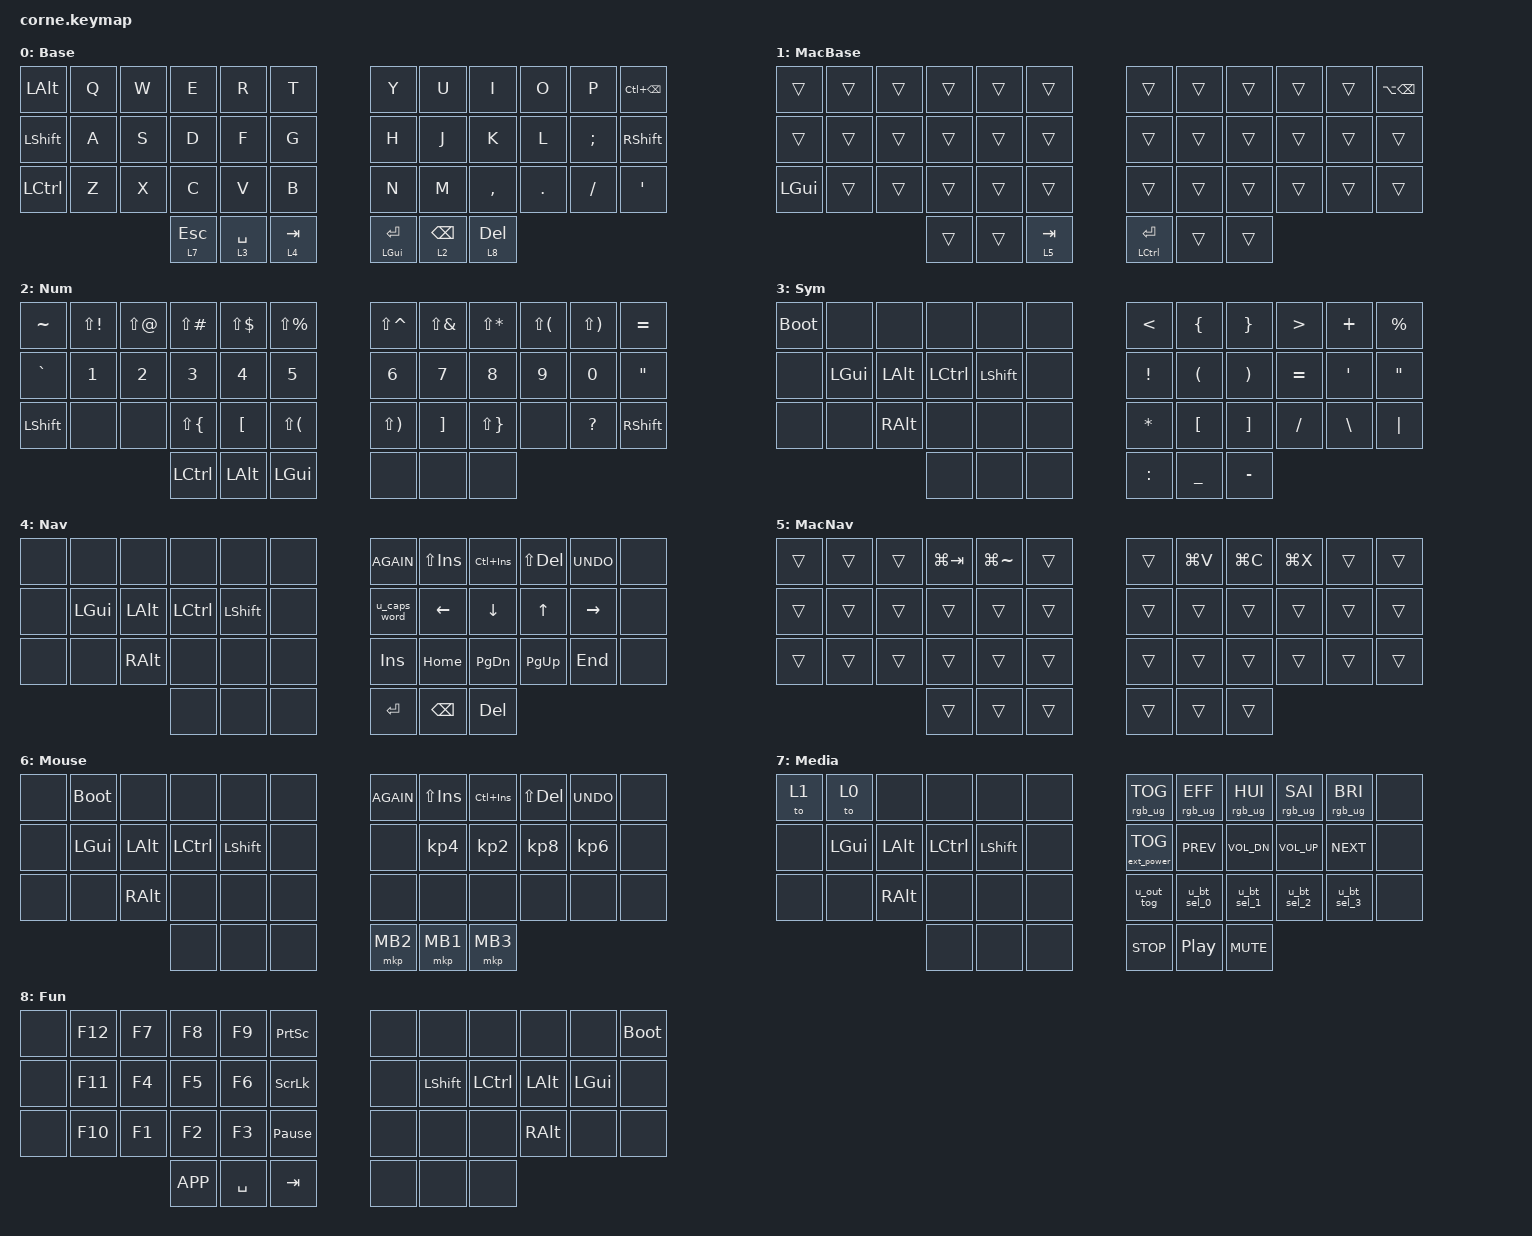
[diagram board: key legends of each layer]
#include <behaviors/mouse_key_press.dtsi>
#include <dt-bindings/zmk/mouse.h>
#include <behaviors.dtsi>
#include <dt-bindings/zmk/bt.h>
#include <dt-bindings/zmk/ext_power.h>
#include <dt-bindings/zmk/keys.h>
#include <dt-bindings/zmk/outputs.h>
#include <dt-bindings/zmk/pointing.h>
#include <dt-bindings/zmk/rgb.h>

/ {
    combos {
        compatible = "zmk,combos";

        caps_word {
            bindings = <&caps_word>;
            key-positions = <16 19>;
        };
    };

    keymap {
        compatible = "zmk,keymap";

        BASE {
            display-name = "Base";
            bindings = <
&kp LEFT_ALT  &kp Q  &kp W  &kp E         &kp R        &kp T        &kp Y               &kp U       &kp I      &kp O    &kp P     &kp LC(BSPC)
&kp LSHFT     &kp A  &kp S  &kp D         &kp F        &kp G        &kp H               &kp J       &kp K      &kp L    &kp SEMI  &kp RSHFT
&kp LCTRL     &kp Z  &kp X  &kp C         &kp V        &kp B        &kp N               &kp M       &kp COMMA  &kp DOT  &kp FSLH  &kp SQT
                            &lt 7 ESCAPE  &lt 3 SPACE  &lt 4 TAB    &u_mt LEFT_GUI RET  &lt 2 BSPC  &lt 8 DEL
            >;
        };

        MacOS {
            bindings = <
&trans        &trans  &trans  &trans  &trans  &trans       &trans                     &trans  &trans  &trans  &trans  &kp LA(BACKSPACE)
&trans        &trans  &trans  &trans  &trans  &trans       &trans                     &trans  &trans  &trans  &trans  &trans
&kp LEFT_GUI  &trans  &trans  &trans  &trans  &trans       &trans                     &trans  &trans  &trans  &trans  &trans
                              &trans  &trans  &lt 5 TAB    &u_mt LEFT_CONTROL RETURN  &trans  &trans
            >;

            label = "MacBase";
        };

        NUM {
            display-name = "Num";
            bindings = <
&kp TILDE  &kp LS(EXCL)  &kp LS(AT)  &kp LS(POUND)  &kp LS(DLLR)  &kp LS(PRCNT)    &kp LS(CARET)  &kp LS(AMPS)  &kp LS(STAR)  &kp LS(LPAR)  &kp LS(RPAR)  &kp EQUAL
&kp GRAVE  &kp N1        &kp N2      &kp N3         &kp N4        &kp N5           &kp N6         &kp N7        &kp N8        &kp N9        &kp N0        &kp DOUBLE_QUOTES
&kp LSHFT  &none         &none       &kp LS(LBRC)   &kp LBKT      &kp LS(LPAR)     &kp LS(RPAR)   &kp RBKT      &kp LS(RBRC)  &none         &kp QMARK     &kp RSHFT
                                     &kp LCTRL      &kp LEFT_ALT  &kp LEFT_GUI     &none          &none         &none
            >;
        };

        SYM {
            bindings = <
&bootloader  &none         &none         &none             &none      &none    &kp LT           &kp LBRC   &kp RBRC   &kp GT     &kp PLUS  &kp PRCNT
&none        &kp LEFT_GUI  &kp LEFT_ALT  &kp LEFT_CONTROL  &kp LSHFT  &none    &kp EXCLAMATION  &kp LPAR   &kp RPAR   &kp EQUAL  &kp SQT   &kp DQT
&none        &none         &kp RALT      &none             &none      &none    &kp ASTRK        &kp LBKT   &kp RBKT   &kp FSLH   &kp BSLH  &kp PIPE
                                         &none             &none      &none    &kp COLON        &kp UNDER  &kp MINUS
            >;

            label = "Sym";
        };

        NAV {
            display-name = "Nav";
            bindings = <
&none  &none     &none     &none      &none      &none    &kp K_AGAIN   &kp LS(INSERT)  &kp LC(INS)  &kp LS(DEL)  &kp K_UNDO  &none
&none  &kp LGUI  &kp LALT  &kp LCTRL  &kp LSHFT  &none    &u_caps_word  &kp LEFT        &kp DOWN     &kp UP       &kp RIGHT   &none
&none  &none     &kp RALT  &none      &none      &none    &kp INS       &kp HOME        &kp PG_DN    &kp PG_UP    &kp END     &none
                           &none      &none      &none    &kp RET       &kp BSPC        &kp DEL
            >;
        };

        MacNav {
            bindings = <
&trans  &trans  &trans  &kp LG(TAB)  &kp LG(TILDE)  &trans    &trans  &kp LG(V)  &kp LG(C)  &kp LG(X)  &trans  &trans
&trans  &trans  &trans  &trans       &trans         &trans    &trans  &trans     &trans     &trans     &trans  &trans
&trans  &trans  &trans  &trans       &trans         &trans    &trans  &trans     &trans     &trans     &trans  &trans
                        &trans       &trans         &trans    &trans  &trans     &trans
            >;

            label = "MacNav";
        };

        MOUSE {
            display-name = "Mouse";
            bindings = <
&none  &bootloader  &none     &none      &none      &none    &kp K_AGAIN  &kp LS(INS)  &kp LC(INS)  &kp LS(DEL)  &kp K_UNDO  &none
&none  &kp LGUI     &kp LALT  &kp LCTRL  &kp LSHFT  &none    &none        &kp KP_N4    &kp KP_N2    &kp KP_N8    &kp KP_N6   &none
&none  &none        &kp RALT  &none      &none      &none    &none        &none        &none        &none        &none       &none
                              &none      &none      &none    &mkp MB2     &mkp MB1     &mkp MB3
            >;
        };

        MEDIA {
            display-name = "Media";
            bindings = <
&to 1  &to 0     &none     &none      &none      &none    &rgb_ug RGB_TOG    &rgb_ug RGB_EFF  &rgb_ug RGB_HUI  &rgb_ug RGB_SAI  &rgb_ug RGB_BRI  &none
&none  &kp LGUI  &kp LALT  &kp LCTRL  &kp LSHFT  &none    &ext_power EP_TOG  &kp C_PREV       &kp C_VOL_DN     &kp C_VOL_UP     &kp C_NEXT       &none
&none  &none     &kp RALT  &none      &none      &none    &u_out_tog         &u_bt_sel_0      &u_bt_sel_1      &u_bt_sel_2      &u_bt_sel_3      &none
                           &none      &none      &none    &kp C_STOP         &kp C_PP         &kp C_MUTE
            >;
        };

        FUN {
            display-name = "Fun";
            bindings = <
&none  &kp F12  &kp F7  &kp F8     &kp F9     &kp PRINTSCREEN    &none  &none      &none      &none     &none     &bootloader
&none  &kp F11  &kp F4  &kp F5     &kp F6     &kp SCROLLLOCK     &none  &kp LSHFT  &kp LCTRL  &kp LALT  &kp LGUI  &none
&none  &kp F10  &kp F1  &kp F2     &kp F3     &kp PAUSE_BREAK    &none  &none      &none      &kp RALT  &none     &none
                        &kp K_APP  &kp SPACE  &kp TAB            &none  &none      &none
            >;
        };
    };
};

/ {
    macros {
        u_macro_u_bt_sel_0: u_macro_u_bt_sel_0 {
            compatible = "zmk,behavior-macro";
            #binding-cells = <0>;
            wait-ms = <0>;
            bindings = <&bt BT_SEL 0 &bt BT_CLR>;
        };
    };
};

/ {
    behaviors {
        u_bt_sel_0: u_bt_sel_0 {
            compatible = "zmk,behavior-mod-morph";
            #binding-cells = <0>;
            bindings = <&bt BT_SEL 0>, <&u_macro_u_bt_sel_0>;

            mods = <(MOD_LSFT|MOD_RSFT)>;
        };
    };
};

/ {
    macros {
        u_macro_u_bt_sel_1: u_macro_u_bt_sel_1 {
            compatible = "zmk,behavior-macro";
            #binding-cells = <0>;
            wait-ms = <0>;
            bindings = <&bt BT_SEL 1 &bt BT_CLR>;
        };
    };
};

/ {
    behaviors {
        u_bt_sel_1: u_bt_sel_1 {
            compatible = "zmk,behavior-mod-morph";
            #binding-cells = <0>;
            bindings = <&bt BT_SEL 1>, <&u_macro_u_bt_sel_1>;

            mods = <(MOD_LSFT|MOD_RSFT)>;
        };
    };
};

/ {
    macros {
        u_macro_u_bt_sel_2: u_macro_u_bt_sel_2 {
            compatible = "zmk,behavior-macro";
            #binding-cells = <0>;
            wait-ms = <0>;
            bindings = <&bt BT_SEL 2 &bt BT_CLR>;
        };
    };
};

/ {
    behaviors {
        u_bt_sel_2: u_bt_sel_2 {
            compatible = "zmk,behavior-mod-morph";
            #binding-cells = <0>;
            bindings = <&bt BT_SEL 2>, <&u_macro_u_bt_sel_2>;

            mods = <(MOD_LSFT|MOD_RSFT)>;
        };
    };
};

/ {
    macros {
        u_macro_u_bt_sel_3: u_macro_u_bt_sel_3 {
            compatible = "zmk,behavior-macro";
            #binding-cells = <0>;
            wait-ms = <0>;
            bindings = <&bt BT_SEL 3 &bt BT_CLR>;
        };
    };
};

/ {
    behaviors {
        u_bt_sel_3: u_bt_sel_3 {
            compatible = "zmk,behavior-mod-morph";
            #binding-cells = <0>;
            bindings = <&bt BT_SEL 3>, <&u_macro_u_bt_sel_3>;

            mods = <(MOD_LSFT|MOD_RSFT)>;
        };
    };
};

/ {
    macros {
        u_macro_u_bt_sel_4: u_macro_u_bt_sel_4 {
            compatible = "zmk,behavior-macro";
            #binding-cells = <0>;
            wait-ms = <0>;
            bindings = <&bt BT_SEL 4 &bt BT_CLR>;
        };
    };
};

/ {
    behaviors {
        u_bt_sel_4: u_bt_sel_4 {
            compatible = "zmk,behavior-mod-morph";
            #binding-cells = <0>;
            bindings = <&bt BT_SEL 4>, <&u_macro_u_bt_sel_4>;

            mods = <(MOD_LSFT|MOD_RSFT)>;
        };
    };
};

/ {
    behaviors {
        u_out_tog: u_out_tog {
            compatible = "zmk,behavior-mod-morph";
            #binding-cells = <0>;
            bindings = <&out OUT_TOG>, <&out OUT_USB>;

            mods = <(MOD_LSFT|MOD_RSFT)>;
        };
    };
};

/ {
    behaviors {
        u_caps_word: u_caps_word {
            compatible = "zmk,behavior-mod-morph";
            #binding-cells = <0>;
            bindings = <&caps_word>, <&kp CAPS>;

            mods = <(MOD_LSFT|MOD_RSFT)>;
        };
    };
};

/ {
    behaviors {
    };
};

/ {
    behaviors {
    };
};

/ {
    behaviors {
    };
};

/ {
    behaviors {
    };
};

/ {
    behaviors {
    };
};

/ {
    behaviors {
    };
};

/ {
    behaviors {
    };
};

/ {
    behaviors {
    };
};

/ {
    behaviors {
    };
};

/ {
    behaviors {
    };
};

/ {
    macros {
        u_macro_btn1: u_macro_btn1 {
            compatible = "zmk,behavior-macro";
            #binding-cells = <0>;
            wait-ms = <0>;
            bindings = <&kp KP_SLASH &kp KP_N5>;
        };
    };
};

/ {
    macros {
        u_macro_btn2: u_macro_btn2 {
            compatible = "zmk,behavior-macro";
            #binding-cells = <0>;
            wait-ms = <0>;
            bindings = <&kp KP_MINUS &kp KP_N5>;
        };
    };
};

/ {
    macros {
        u_macro_btn3: u_macro_btn3 {
            compatible = "zmk,behavior-macro";
            #binding-cells = <0>;
            wait-ms = <0>;
            bindings = <&kp KP_ASTERISK &kp KP_N5>;
        };
    };
};

/ {
    behaviors {
        u_mt: u_mt {
            compatible = "zmk,behavior-hold-tap";
            #binding-cells = <2>;
            tapping-term-ms = <200>;
            flavor = "tap-preferred";
            bindings = <&kp>, <&kp>;
        };

        u_lt: u_lt {
            compatible = "zmk,behavior-hold-tap";
            #binding-cells = <2>;
            tapping-term-ms = <200>;
            flavor = "tap-preferred";
            bindings = <&mo>, <&kp>;
        };
    };
};
